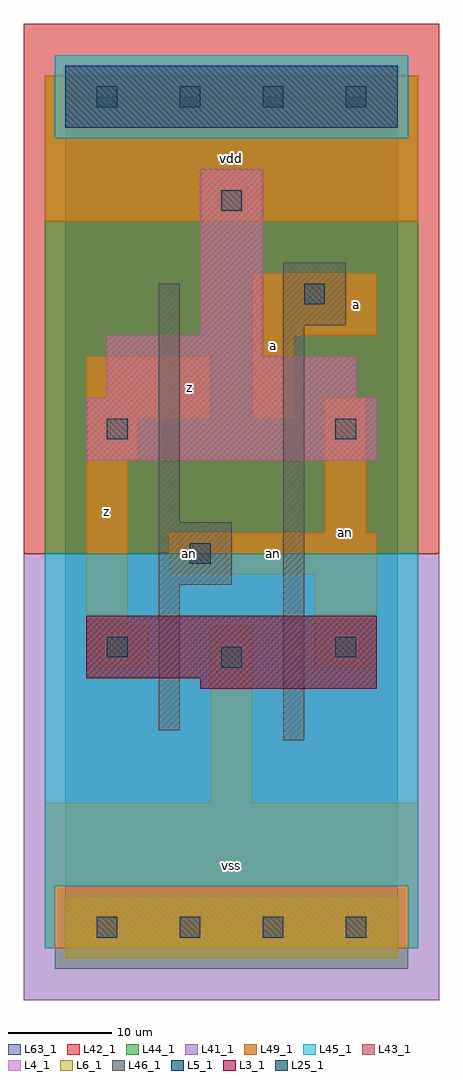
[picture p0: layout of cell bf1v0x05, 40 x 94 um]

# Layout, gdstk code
import gdstk
lib = gdstk.Library(unit=1e-6, precision=1e-09)
def R(c, l, rs):  # rectangles x0, y0, x1, y1
    for r in rs: c.add(gdstk.rectangle(r[:2], r[2:], *l))
def A(c, l, x, y, w, h, nx, ny, dx, dy):  # array of equal rectangles
    R(c, l, [(x+i*dx, y+j*dy, x+i*dx+w, y+j*dy+h) for i in range(nx) for j in range(ny)])
L3_1 = (3, 1)
L4_1 = (4, 1)
L5_1 = (5, 1)
L6_1 = (6, 1)
L25_1 = (25, 1)
L41_1 = (41, 1)
L42_1 = (42, 1)
L43_1 = (43, 1)
L44_1 = (44, 1)
L45_1 = (45, 1)
L46_1 = (46, 1)
L49_1 = (49, 1)
L63_1 = (63, 1)

bf1v0x05 = lib.new_cell('bf1v0x05')
R(bf1v0x05, L3_1, [(13,23,30,24), (2,24,30,30)])
R(bf1v0x05, L4_1, [(2,45,30,51), (4,51,28,55), (4,55,19,57), (13,57,19,73)])
R(bf1v0x05, L5_1, [(0,77,32,83)])
R(bf1v0x05, L6_1, [(0,-3,32,3), (0,-3,32,3)])
A(bf1v0x05, L25_1, 3, -1, 2, 2, 4, 2, 8, 80)
R(bf1v0x05, L25_1, [(15,25,17,27), (4,26,6,28), (26,26,28,28), (12,35,14,37), (4,47,6,49), (26,47,28,49), (23,60,25,62), (15,69,17,71)])
R(bf1v0x05, L41_1, [(-4,-7,36,36)])
R(bf1v0x05, L42_1, [(-4,36,36,87)])
R(bf1v0x05, L43_1, [(0,-3,32,3), (13,23,30,24), (2,24,30,30), (2,45,30,51), (4,51,28,55), (4,55,19,57), (13,57,19,73), (0,77,32,83)])
R(bf1v0x05, L44_1, [(-1,-4,33,4), (-2,36,34,76), (-2,76,-1,82), (33,76,34,82)])
R(bf1v0x05, L45_1, [(-2,-2,-1,4), (33,-2,34,4), (-2,4,34,36), (-1,76,33,84)])
R(bf1v0x05, L46_1, [(21,18,23,58), (9,19,11,33), (9,33,16,39), (9,39,11,62), (21,58,27,64)])
R(bf1v0x05, L49_1, [(-2,-2,34,12), (14,12,18,29), (2,25,8,29), (24,25,30,34), (2,29,6,45), (10,34,30,38), (25,38,29,51), (2,45,7,49), (2,49,14,55), (18,49,22,57), (18,57,30,63), (-2,68,34,82)])
R(bf1v0x05, L63_1, [(0,0,32,80)])
bf1v0x05.add(gdstk.Label('an', (12,36), layer=49, texttype=1))
bf1v0x05.add(gdstk.Label('z', (4,40), layer=49, texttype=1))
bf1v0x05.add(gdstk.Label('z', (12,52), layer=49, texttype=1))
bf1v0x05.add(gdstk.Label('vss', (16,6), layer=49, texttype=1))
bf1v0x05.add(gdstk.Label('a', (20,56), layer=49, texttype=1))
bf1v0x05.add(gdstk.Label('vdd', (16,74), layer=49, texttype=1))
bf1v0x05.add(gdstk.Label('an', (20,36), layer=49, texttype=1))
bf1v0x05.add(gdstk.Label('an', (27,38), layer=49, texttype=1))
bf1v0x05.add(gdstk.Label('a', (28,60), layer=49, texttype=1))

lib.write_gds('bf1v0x05.gds')
